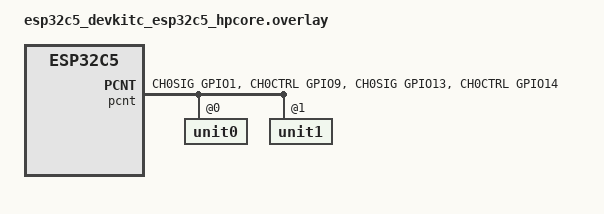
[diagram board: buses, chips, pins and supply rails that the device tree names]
/*
 * SPDX-License-Identifier: Apache-2.0
 *
 * Copyright (c) 2026 Espressif Systems (Shanghai) Co., Ltd.
 */

&pinctrl {
	pcnt_default: pcnt_default {
		group1 {
			pinmux = <PCNT0_CH0SIG_GPIO1>,
				 <PCNT0_CH0CTRL_GPIO9>,
				 <PCNT1_CH0SIG_GPIO13>,
				 <PCNT1_CH0CTRL_GPIO14>;
			bias-pull-up;
		};
	};
};

&pcnt {
	pinctrl-0 = <&pcnt_default>;
	pinctrl-names = "default";
	status = "okay";
	#address-cells = <1>;
	#size-cells = <0>;

	unit0@0 {
		reg = <0>;
		#address-cells = <1>;
		#size-cells = <0>;
		filter = <100>;
		counts-per-revolution = <400>;

		channelA@0 {
			reg = <0>;
			sig-pos-mode = <1>;
			sig-neg-mode = <0>;
			ctrl-h-mode = <0>;
			ctrl-l-mode = <0>;
		};
	};

	unit1@1 {
		reg = <1>;
		#address-cells = <1>;
		#size-cells = <0>;
		filter = <100>;
		counts-per-revolution = <400>;

		channelA@0 {
			reg = <0>;
			sig-pos-mode = <1>;
			sig-neg-mode = <0>;
			ctrl-h-mode = <0>;
			ctrl-l-mode = <0>;
		};
	};
};
